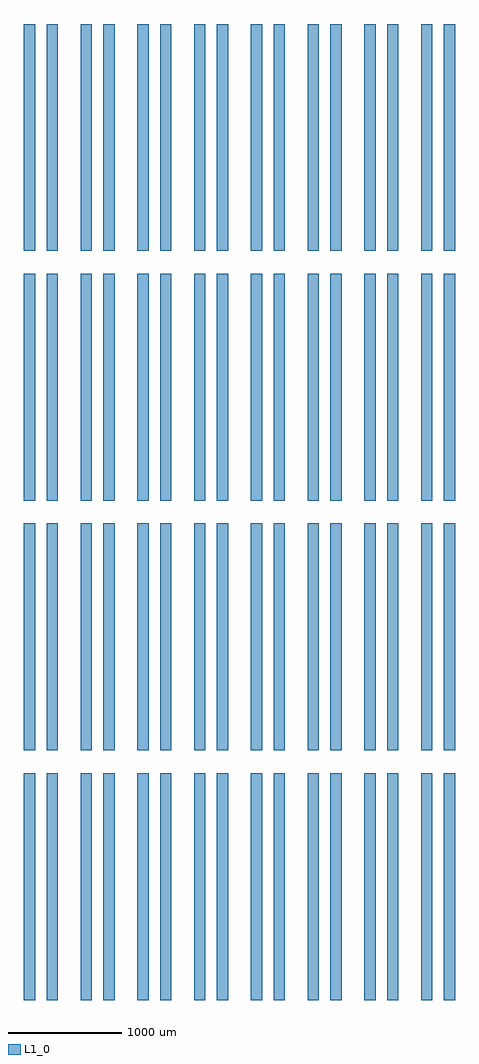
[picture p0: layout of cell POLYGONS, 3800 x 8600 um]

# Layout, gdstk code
import gdstk
lib = gdstk.Library(unit=1e-6, precision=1e-09)
def R(c, l, rs):  # rectangles x0, y0, x1, y1
    for r in rs: c.add(gdstk.rectangle(r[:2], r[2:], *l))
def A(c, l, x, y, w, h, nx, ny, dx, dy):  # array of equal rectangles
    R(c, l, [(x+i*dx, y+j*dy, x+i*dx+w, y+j*dy+h) for i in range(nx) for j in range(ny)])
L1_0 = (1, 0)

polygons = lib.new_cell('POLYGONS')
A(polygons, L1_0, -1900, -4300, 100, 2000, 1, 4, 0, 2200)
A(polygons, L1_0, -1700, -4300, 100, 2000, 1, 4, 0, 2200)
A(polygons, L1_0, -1400, -4300, 100, 2000, 1, 4, 0, 2200)
A(polygons, L1_0, -1200, -4300, 100, 2000, 1, 4, 0, 2200)
A(polygons, L1_0, -900, -4300, 100, 2000, 1, 4, 0, 2200)
A(polygons, L1_0, -700, -4300, 100, 2000, 1, 4, 0, 2200)
A(polygons, L1_0, -400, -4300, 100, 2000, 1, 4, 0, 2200)
A(polygons, L1_0, -200, -4300, 100, 2000, 1, 4, 0, 2200)
A(polygons, L1_0, 100, -4300, 100, 2000, 1, 4, 0, 2200)
A(polygons, L1_0, 300, -4300, 100, 2000, 1, 4, 0, 2200)
A(polygons, L1_0, 600, -4300, 100, 2000, 1, 4, 0, 2200)
A(polygons, L1_0, 800, -4300, 100, 2000, 1, 4, 0, 2200)
A(polygons, L1_0, 1100, -4300, 100, 2000, 1, 4, 0, 2200)
A(polygons, L1_0, 1300, -4300, 100, 2000, 1, 4, 0, 2200)
A(polygons, L1_0, 1600, -4300, 100, 2000, 1, 4, 0, 2200)
A(polygons, L1_0, 1800, -4300, 100, 2000, 1, 4, 0, 2200)

lib.write_gds('POLYGONS.gds')
